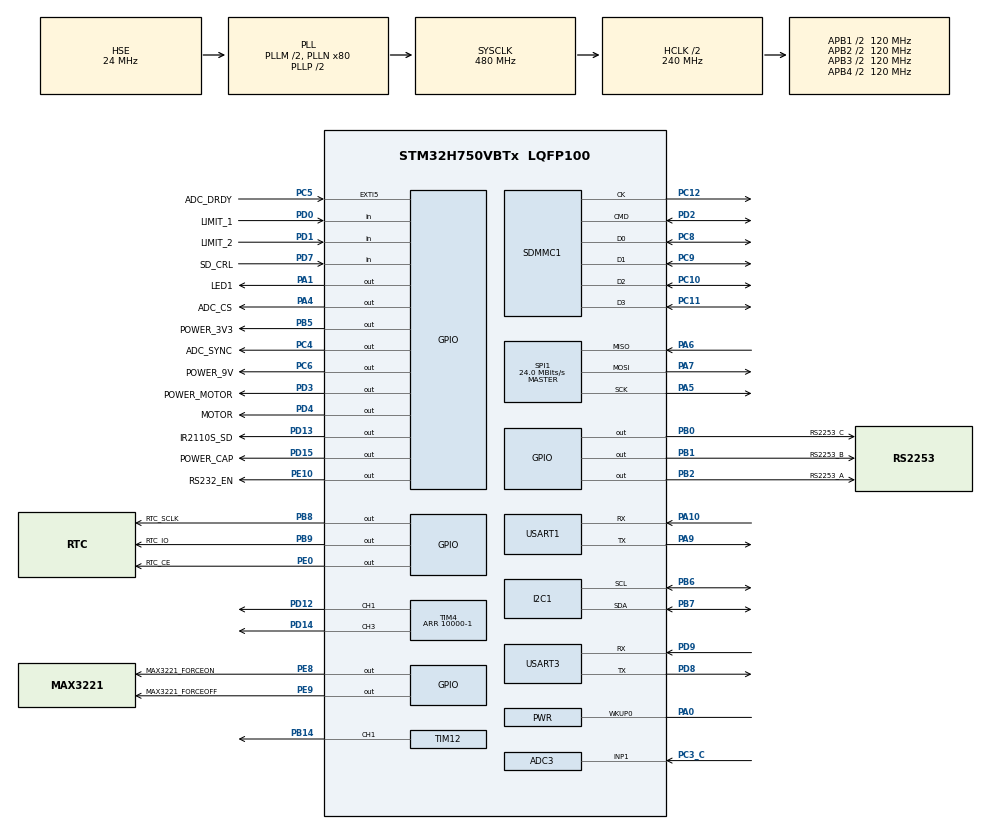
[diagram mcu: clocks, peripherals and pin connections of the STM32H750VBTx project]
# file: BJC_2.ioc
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ADC3.Channel-0\#ChannelRegularConversion=ADC_CHANNEL_1
ADC3.NbrOfConversionFlag=1
ADC3.OffsetNumber-0\#ChannelRegularConversion=ADC_OFFSET_NONE
ADC3.OffsetSignedSaturation-0\#ChannelRegularConversion=DISABLE
ADC3.Rank-0\#ChannelRegularConversion=1
ADC3.SamplingTime-0\#ChannelRegularConversion=ADC_SAMPLETIME_1CYCLE_5
CORTEX_M7.AccessPermission-Cortex_Memory_Protection_Unit_Region0_Settings=MPU_REGION_FULL_ACCESS
CORTEX_M7.BaseAddress-Cortex_Memory_Protection_Unit_Region0_Settings=0x24000000
CORTEX_M7.CPU_DCache=Enabled
CORTEX_M7.CPU_ICache=Enabled
CORTEX_M7.Enable-Cortex_Memory_Protection_Unit_Region0_Settings=MPU_REGION_ENABLE
CORTEX_M7.Enable-Cortex_Memory_Protection_Unit_Region1_Settings=__NULL
CORTEX_M7.Enable-Cortex_Memory_Protection_Unit_Region2_Settings=__NULL
CORTEX_M7.IsBufferable-Cortex_Memory_Protection_Unit_Region0_Settings=MPU_ACCESS_BUFFERABLE
CORTEX_M7.IsCacheable-Cortex_Memory_Protection_Unit_Region0_Settings=MPU_ACCESS_CACHEABLE
CORTEX_M7.MPU_Control=MPU_PRIVILEGED_DEFAULT
CORTEX_M7.Size-Cortex_Memory_Protection_Unit_Region0_Settings=MPU_REGION_SIZE_512KB
CORTEX_M7.TypeExtField-Cortex_Memory_Protection_Unit_Region0_Settings=MPU_TEX_LEVEL1
Dma.Request0=SPI1_RX
Dma.SPI1_RX.0.Direction=DMA_PERIPH_TO_MEMORY
Dma.SPI1_RX.0.EventEnable=DISABLE
Dma.SPI1_RX.0.FIFOMode=DMA_FIFOMODE_DISABLE
Dma.SPI1_RX.0.Instance=DMA1_Stream0
Dma.SPI1_RX.0.MemDataAlignment=DMA_MDATAALIGN_BYTE
Dma.SPI1_RX.0.MemInc=DMA_MINC_ENABLE
Dma.SPI1_RX.0.Mode=DMA_NORMAL
Dma.SPI1_RX.0.PeriphDataAlignment=DMA_PDATAALIGN_BYTE
Dma.SPI1_RX.0.PeriphInc=DMA_PINC_DISABLE
Dma.SPI1_RX.0.Polarity=HAL_DMAMUX_REQ_GEN_RISING
Dma.SPI1_RX.0.Priority=DMA_PRIORITY_LOW
Dma.SPI1_RX.0.RequestNumber=1
Dma.SPI1_RX.0.SignalID=NONE
Dma.SPI1_RX.0.SyncEnable=DISABLE
Dma.SPI1_RX.0.SyncPolarity=HAL_DMAMUX_SYNC_NO_EVENT
Dma.SPI1_RX.0.SyncRequestNumber=1
Dma.SPI1_RX.0.SyncSignalID=NONE
FATFS.BSP.number=1
FATFS.USE_DMA_CODE_SD=1
FATFS._CODE_PAGE=437
FATFS._STRF_ENCODE=0
FATFS._USE_LFN=2
FATFS0.BSP.STBoard=false
FATFS0.BSP.api=Unknown
FATFS0.BSP.instance=PD7
FATFS0.BSP.ip=GPIO
FATFS0.BSP.mode=Input
FATFS0.BSP.name=Detect_SDIO
FATFS0.BSP.solution=PD7
Mcu.Family=STM32H7
Mcu.Name=STM32H750VBTx
Mcu.Package=LQFP100
Mdma.MDMA_Channel0.Request0=SDMMC1_DMA_ENDBUFFER
Mdma.MDMA_Channel0.RequestsNb=1
Mdma.MDMA_Channel0.SDMMC1_DMA_ENDBUFFER.0.BlockCount=0
Mdma.MDMA_Channel0.SDMMC1_DMA_ENDBUFFER.0.BlockDataLength=0
Mdma.MDMA_Channel0.SDMMC1_DMA_ENDBUFFER.0.BufferTransferLength=1
Mdma.MDMA_Channel0.SDMMC1_DMA_ENDBUFFER.0.CircularMode=MDMA_LINEAR_LIST
Mdma.MDMA_Channel0.SDMMC1_DMA_ENDBUFFER.0.DataAlignment=MDMA_DATAALIGN_PACKENABLE
Mdma.MDMA_Channel0.SDMMC1_DMA_ENDBUFFER.0.DestBlockAddressOffset=0
Mdma.MDMA_Channel0.SDMMC1_DMA_ENDBUFFER.0.DestBurst=MDMA_DEST_BURST_SINGLE
Mdma.MDMA_Channel0.SDMMC1_DMA_ENDBUFFER.0.DestDataSize=MDMA_DEST_DATASIZE_BYTE
Mdma.MDMA_Channel0.SDMMC1_DMA_ENDBUFFER.0.DestinationInc=MDMA_DEST_INC_BYTE
Mdma.MDMA_Channel0.SDMMC1_DMA_ENDBUFFER.0.DstAddress=0
Mdma.MDMA_Channel0.SDMMC1_DMA_ENDBUFFER.0.Endianness=MDMA_LITTLE_ENDIANNESS_PRESERVE
Mdma.MDMA_Channel0.SDMMC1_DMA_ENDBUFFER.0.Instance=MDMA_Channel0
Mdma.MDMA_Channel0.SDMMC1_DMA_ENDBUFFER.0.MaskAddress=0
Mdma.MDMA_Channel0.SDMMC1_DMA_ENDBUFFER.0.MaskData=0
Mdma.MDMA_Channel0.SDMMC1_DMA_ENDBUFFER.0.Priority=MDMA_PRIORITY_LOW
Mdma.MDMA_Channel0.SDMMC1_DMA_ENDBUFFER.0.Rank=First
Mdma.MDMA_Channel0.SDMMC1_DMA_ENDBUFFER.0.SourceBlockAddressOffset=0
Mdma.MDMA_Channel0.SDMMC1_DMA_ENDBUFFER.0.SourceBurst=MDMA_SOURCE_BURST_SINGLE
Mdma.MDMA_Channel0.SDMMC1_DMA_ENDBUFFER.0.SourceDataSize=MDMA_SRC_DATASIZE_BYTE
Mdma.MDMA_Channel0.SDMMC1_DMA_ENDBUFFER.0.SourceInc=MDMA_SRC_INC_BYTE
Mdma.MDMA_Channel0.SDMMC1_DMA_ENDBUFFER.0.SrcAddress=0
Mdma.MDMA_Channel0.SDMMC1_DMA_ENDBUFFER.0.TransferTriggerMode=MDMA_BUFFER_TRANSFER
Mdma.RequestSet0=MDMA_Channel0
Mdma.RequestSetsNb=1
NVIC.DMA1_Stream0_IRQn=true\:7\:0\:true\:false\:true\:true\:true
NVIC.EXTI9_5_IRQn=true\:5\:0\:true\:false\:true\:true\:true
NVIC.PriorityGroup=NVIC_PRIORITYGROUP_4
NVIC.SDMMC1_IRQn=true\:1\:0\:true\:false\:true\:true\:true
NVIC.SPI1_IRQn=true\:6\:0\:true\:false\:true\:true\:true
NVIC.TIM2_IRQn=true\:15\:0\:true\:false\:true\:true\:true
NVIC.TIM7_IRQn=true\:14\:0\:true\:false\:true\:true\:true
NVIC.TIM8_UP_TIM13_IRQn=true\:10\:0\:true\:false\:true\:true\:true
PA0.Mode=WakeUp0
PA0.Signal=PWR_WKUP0
PA1.GPIO_Label=LED1
PA1.Signal=GPIO_Output
PA10.Mode=Asynchronous
PA10.Signal=USART1_RX
PA13\ (JTMS/SWDIO).Mode=Serial_Wire
PA13\ (JTMS/SWDIO).Signal=DEBUG_JTMS-SWDIO
PA14\ (JTCK/SWCLK).Mode=Serial_Wire
PA14\ (JTCK/SWCLK).Signal=DEBUG_JTCK-SWCLK
PA4.GPIO_Label=ADC_CS
PA4.Signal=GPIO_Output
PA5.Mode=Full_Duplex_Master
PA5.Signal=SPI1_SCK
PA6.Mode=Full_Duplex_Master
PA6.Signal=SPI1_MISO
PA7.Mode=Full_Duplex_Master
PA7.Signal=SPI1_MOSI
PA9.Mode=Asynchronous
PA9.Signal=USART1_TX
PB0.GPIO_Label=RS2253_C
PB0.Signal=GPIO_Output
PB1.GPIO_Label=RS2253_B
PB1.Signal=GPIO_Output
PB14.Signal=S_TIM12_CH1
PB2.GPIO_Label=RS2253_A
PB2.Signal=GPIO_Output
PB5.GPIO_Label=POWER_3V3
PB5.Signal=GPIO_Output
PB6.Mode=I2C
PB6.Signal=I2C1_SCL
PB7.Mode=I2C
PB7.Signal=I2C1_SDA
PB8.GPIO_Label=RTC_SCLK
PB8.Signal=GPIO_Output
PB9.GPIO_Label=RTC_IO
PB9.Signal=GPIO_Output
PC10.Mode=SD_4_bits_Wide_bus
PC10.Signal=SDMMC1_D2
PC11.Mode=SD_4_bits_Wide_bus
PC11.Signal=SDMMC1_D3
PC12.Mode=SD_4_bits_Wide_bus
PC12.Signal=SDMMC1_CK
PC3_C.Mode=IN1-Single-Ended
PC3_C.Signal=ADC3_INP1
PC4.GPIO_Label=ADC_SYNC
PC4.Signal=GPIO_Output
PC5.GPIO_Label=ADC_DRDY
PC5.GPIO_ModeDefaultEXTI=GPIO_MODE_IT_FALLING
PC5.Signal=GPXTI5
PC6.GPIO_Label=POWER_9V
PC6.Signal=GPIO_Output
PC8.Mode=SD_4_bits_Wide_bus
PC8.Signal=SDMMC1_D0
PC9.Mode=SD_4_bits_Wide_bus
PC9.Signal=SDMMC1_D1
PD0.GPIO_Label=LIMIT_1
PD0.GPIO_PuPd=GPIO_NOPULL
PD0.Signal=GPIO_Input
PD1.GPIO_Label=LIMIT_2
PD1.Signal=GPIO_Input
PD12.Signal=S_TIM4_CH1
PD13.GPIO_Label=IR2110S_SD
PD13.Signal=GPIO_Output
PD14.Signal=S_TIM4_CH3
PD15.GPIO_Label=POWER_CAP
PD15.Signal=GPIO_Output
PD2.Mode=SD_4_bits_Wide_bus
PD2.Signal=SDMMC1_CMD
PD3.GPIO_Label=POWER_MOTOR
PD3.Signal=GPIO_Output
PD4.GPIO_Label=MOTOR
PD4.Signal=GPIO_Output
PD7.GPIO_Label=SD_CRL
PD7.GPIO_PuPd=GPIO_PULLDOWN
PD7.Signal=GPIO_Input
PD8.Mode=Asynchronous
PD8.Signal=USART3_TX
PD9.Mode=Asynchronous
PD9.Signal=USART3_RX
PE0.GPIO_Label=RTC_CE
PE0.Signal=GPIO_Output
PE10.GPIO_Label=RS232_EN
PE10.Signal=GPIO_Output
PE8.GPIO_Label=MAX3221_FORCEON
PE8.Signal=GPIO_Output
PE9.GPIO_Label=MAX3221_FORCEOFF
PE9.Signal=GPIO_Output
PH0-OSC_IN\ (PH0).Mode=HSE-External-Oscillator
PH0-OSC_IN\ (PH0).Signal=RCC_OSC_IN
PH1-OSC_OUT\ (PH1).Mode=HSE-External-Oscillator
PH1-OSC_OUT\ (PH1).Signal=RCC_OSC_OUT
ProjectManager.HeapSize=0x4000
ProjectManager.StackSize=0x2000
ProjectManager.TargetToolchain=MDK-ARM V5.27
RCC.ADCFreq_Value=60000000
RCC.APB1Freq_Value=120000000
RCC.APB2Freq_Value=120000000
RCC.APB3Freq_Value=120000000
RCC.APB4Freq_Value=120000000
RCC.CortexFreq_Value=480000000
RCC.D1PPRE=RCC_APB3_DIV2
RCC.D2PPRE1=RCC_APB1_DIV2
RCC.D2PPRE2=RCC_APB2_DIV2
RCC.D3PPRE=RCC_APB4_DIV2
RCC.DIVM1=2
RCC.DIVM2=4
RCC.DIVM3=15
RCC.DIVN1=80
RCC.DIVN2=50
RCC.DIVN3=120
RCC.DIVP2=5
RCC.DIVQ1=20
RCC.DIVR2=6
RCC.DIVR3=3
RCC.HCLKFreq_Value=240000000
RCC.HPRE=RCC_HCLK_DIV2
RCC.HSE_VALUE=24000000
RCC.I2C123CLockSelection=RCC_I2C123CLKSOURCE_PLL3
RCC.PLLSourceVirtual=RCC_PLLSOURCE_HSE
RCC.SDMMC1CLockSelection=RCC_SDMMCCLKSOURCE_PLL2
RCC.SYSCLKFreq_VALUE=480000000
RCC.SYSCLKSource=RCC_SYSCLKSOURCE_PLLCLK
RCC.USBFreq_Value=48000000
SDMMC1.ClockDiv=1
SH.S_TIM12_CH1.0=TIM12_CH1,PWM Generation1 CH1
SH.S_TIM4_CH1.0=TIM4_CH1,Output Compare1 CH1
SH.S_TIM4_CH3.0=TIM4_CH3,Output Compare3 CH3
SPI1.BaudRatePrescaler=SPI_BAUDRATEPRESCALER_2
SPI1.CalculateBaudRate=24.0 MBits/s
SPI1.DataSize=SPI_DATASIZE_8BIT
SPI1.Direction=SPI_DIRECTION_2LINES
SPI1.Mode=SPI_MODE_MASTER
SPI1.VirtualType=VM_MASTER
TIM12.Channel-PWM\ Generation1\ CH1=TIM_CHANNEL_1
TIM12.Period=240-1
TIM12.Pulse-PWM\ Generation1\ CH1=120-1
TIM13.Period=333-1
TIM13.Prescaler=24-1
TIM2.Period=20000-1
TIM2.Prescaler=30000-1
TIM4.Channel-Output\ Compare1\ CH1=TIM_CHANNEL_1
TIM4.Channel-Output\ Compare3\ CH3=TIM_CHANNEL_3
TIM4.CounterMode=TIM_COUNTERMODE_CENTERALIGNED1
TIM4.OCMode_1=TIM_OCMODE_RETRIGERRABLE_OPM1
TIM4.OCMode_3=TIM_OCMODE_RETRIGERRABLE_OPM2
TIM4.OCPolarity_3=TIM_OCPOLARITY_HIGH
TIM4.Period=10000-1
TIM4.Pulse-Output\ Compare1\ CH1=3500-1
TIM4.Pulse-Output\ Compare3\ CH3=6500-1
TIM6.Period=65536-1
TIM6.Prescaler=240-1
TIM7.Period=10000-1
TIM7.Prescaler=24000-1
USART1.VirtualMode-Asynchronous=VM_ASYNC
USART3.VirtualMode-Asynchronous=VM_ASYNC
VP_FATFS_VS_SDIO.Mode=SDIO
VP_TIM13_VS_ClockSourceINT.Mode=Enable_Timer
VP_TIM2_VS_ClockSourceINT.Mode=Internal
VP_TIM6_VS_ClockSourceINT.Mode=Enable_Timer
VP_TIM7_VS_ClockSourceINT.Mode=Enable_Timer
board=custom

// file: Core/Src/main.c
/* USER CODE BEGIN Header */
/**
  ******************************************************************************
  * @file           : main.c
  * @brief          : Main program body
  ******************************************************************************
  * @attention
  *
  * Copyright (c) 2023 STMicroelectronics.
  * All rights reserved.
  *
  * This software is licensed under terms that can be found in the LICENSE file
  * in the root directory of this software component.
  * If no LICENSE file comes with this software, it is provided AS-IS.
  *
  ******************************************************************************
  */
/* USER CODE END Header */
#include "main.h"
#include "adc.h"
#include "dma.h"
#include "fatfs.h"
#include "i2c.h"
#include "mdma.h"
#include "sdmmc.h"
#include "spi.h"
#include "tim.h"
#include "usart.h"
#include "gpio.h"

/* USER CODE BEGIN Includes */
#include "APP_Work.h"
/* USER CODE END Includes */

void SystemClock_Config(void);
void PeriphCommonClock_Config(void);
static void MPU_Config(void);

/* USER CODE BEGIN 0 */
uint8_t failure_cnt = 0;

/* USER CODE END 0 */

int main(void)
{

  /* MPU Configuration--------------------------------------------------------*/
  MPU_Config();

  /* Enable I-Cache---------------------------------------------------------*/
  SCB_EnableICache();

  /* Enable D-Cache---------------------------------------------------------*/
  SCB_EnableDCache();

  /* MCU Configuration--------------------------------------------------------*/

  /* Reset of all peripherals, Initializes the Flash interface and the Systick. */
  HAL_Init();

  /* Configure the system clock */
  SystemClock_Config();

/* Configure the peripherals common clocks */
  PeriphCommonClock_Config();

  /* USER CODE BEGIN SysInit */

	MX_GPIO_Init();
	HAL_NVIC_DisableIRQ(EXTI9_5_IRQn);  // ADC数据关闭，在adc7767_init中开启
	MX_USART1_UART_Init();

	if( 1 == READ_BIT(PWR -> WKUPFR, PWR_WKUPFR_WKUPF1))  // 读取唤醒标志寄存器，判断是否为唤醒状态   //  PWR_WKUPFR
			System_State = Wake_Up;

	printf(" System_State = %s \r\n", SystemTable[System_State]);

	/*  判断唤醒信号有效性 （没有开启中断，需要和甲板联合测试）*/
	if(System_State == Wake_Up)
	{
		MX_TIM7_Init();
		__HAL_TIM_ENABLE(&htim7);    // 开启计数
		printf(" 开始计时1S \r\n");

		while(1)
		{
				if(TIM7->CNT == 10000 - 1)     // 计数值满，倒计时1S到达
				{
						__HAL_TIM_DISABLE(&htim7);
						TIM7->CNT = 0;

						printf(" 计时1S结束，开始判断信号 \r\n");

						if( Wakeup_signal_cnt/2 <= Wakeup_signal_Low_cnt ){   // 超过一半的时间为0

								printf(" 信号有效 \r\n");
								printf(" Wakeup_signal_cnt =  %d\r\n Wakeup_signal_Low_cnt = %d \r\n",Wakeup_signal_cnt,Wakeup_signal_Low_cnt);
								System_State = Wake_Work;
								printf(" 唤醒成功 \r\n");
								break;   // 跳出循环

							} else{
												printf(" 信号无效，重新开始计数 \r\n");
												TIM7->CNT = 0;
												__HAL_TIM_ENABLE(&htim7);
												failure_cnt++;
												if(failure_cnt++ > 6)   // 失败5次
												{
													  failure_cnt = 0;
														printf(" 唤醒失败多次，继续休眠 \r\n");
														Enter_Standby_Mode();
												}
										}

						Wakeup_signal_cnt = 0;
						Wakeup_signal_Low_cnt = 0;

				}	else { 													 // 如果未到1S
									Wakeup_signal_cnt++;
									if( (( GPIOA -> IDR ) & 0x00000001) == 0x00000000)  // 判断PA0是否为0
									Wakeup_signal_Low_cnt++;
								}
		} // while(1)
	}

	printf(" 其余外设开启 \r\n");
	printf(" System_State = %s \r\n", SystemTable[System_State]);

  Power_ON();      // 打开板子的所有电源控制
  HAL_Delay(100);  // 为稳定开启

  MX_DMA_Init();  // SPI
  MX_MDMA_Init();
  MX_SDMMC1_SD_Init();
  MX_TIM6_Init();  // us级延时时钟
  MX_ADC3_Init();	// 电池电压
  MX_I2C1_Init(); // MPU6050
  MX_SPI1_Init();	// ADC时序
  MX_USART3_UART_Init();  //RS232
  MX_FATFS_Init();
  MX_TIM12_Init(); // ADC时钟 1M
  MX_TIM2_Init();   // 5分钟定时，中断14
//	MOTOR_REVERSE;   // 电机正反转选择，必须在时钟前
//	//MOTOR_FORWARD;
	MX_TIM13_Init(); // 电机，中断10   放在后面的 Motor_rotate 中
	MX_TIM7_Init();  // 1S定时器，中断15

	__HAL_TIM_CLEAR_IT (&htim7 ,TIM_IT_UPDATE );        // 清除T7标志
	__HAL_TIM_SET_COUNTER(&htim7, 0);   								// 清零T7计数
	HAL_TIM_Base_Start_IT (&htim7 );                    // 允许T7中断

  MX_TIM4_Init();  // 发射

		/* 开启5分钟定时，如果没有收到指令，则进入休眠 */
		Minute_5_start = 1;
		__HAL_TIM_CLEAR_IT (&htim2 ,TIM_IT_UPDATE );        // 清除T2标志
		HAL_TIM_Base_Start_IT (&htim2 );                    // 允许T2中断

  /* USER CODE END SysInit */

  /* Initialize all configured peripherals */

  /* USER CODE BEGIN 2 */

  printf("\r\n 初始化完成\r\n");
	printf("****进入用户程序****\r\n\r\n");
  APP_Init();

  /* USER CODE END 2 */

  /* Infinite loop */
  while (1)
  {

    /* USER CODE BEGIN 3 */
		APP_Process();
  }
  /* USER CODE END 3 */
}

void SystemClock_Config(void)
{
  RCC_OscInitTypeDef RCC_OscInitStruct = {0};
  RCC_ClkInitTypeDef RCC_ClkInitStruct = {0};

  /** Supply configuration update enable
  */
  HAL_PWREx_ConfigSupply(PWR_LDO_SUPPLY);
  /** Configure the main internal regulator output voltage
  */
  __HAL_PWR_VOLTAGESCALING_CONFIG(PWR_REGULATOR_VOLTAGE_SCALE0);

  while(!__HAL_PWR_GET_FLAG(PWR_FLAG_VOSRDY)) {}
  /** Macro to configure the PLL clock source
  */
  __HAL_RCC_PLL_PLLSOURCE_CONFIG(RCC_PLLSOURCE_HSE);
  /** Initializes the RCC Oscillators according to the specified parameters
  * in the RCC_OscInitTypeDef structure.
  */
  RCC_OscInitStruct.OscillatorType = RCC_OSCILLATORTYPE_HSE;
  RCC_OscInitStruct.HSEState = RCC_HSE_ON;
  RCC_OscInitStruct.PLL.PLLState = RCC_PLL_ON;
  RCC_OscInitStruct.PLL.PLLSource = RCC_PLLSOURCE_HSE;
  RCC_OscInitStruct.PLL.PLLM = 2;
  RCC_OscInitStruct.PLL.PLLN = 80;
  RCC_OscInitStruct.PLL.PLLP = 2;
  RCC_OscInitStruct.PLL.PLLQ = 20;
  RCC_OscInitStruct.PLL.PLLR = 2;
  RCC_OscInitStruct.PLL.PLLRGE = RCC_PLL1VCIRANGE_3;
  RCC_OscInitStruct.PLL.PLLVCOSEL = RCC_PLL1VCOWIDE;
  RCC_OscInitStruct.PLL.PLLFRACN = 0;
  if (HAL_RCC_OscConfig(&RCC_OscInitStruct) != HAL_OK)
  {
    Error_Handler();
  }
  /** Initializes the CPU, AHB and APB buses clocks
  */
  RCC_ClkInitStruct.ClockType = RCC_CLOCKTYPE_HCLK|RCC_CLOCKTYPE_SYSCLK
                              |RCC_CLOCKTYPE_PCLK1|RCC_CLOCKTYPE_PCLK2
                              |RCC_CLOCKTYPE_D3PCLK1|RCC_CLOCKTYPE_D1PCLK1;
  RCC_ClkInitStruct.SYSCLKSource = RCC_SYSCLKSOURCE_PLLCLK;
  RCC_ClkInitStruct.SYSCLKDivider = RCC_SYSCLK_DIV1;
  RCC_ClkInitStruct.AHBCLKDivider = RCC_HCLK_DIV2;
  RCC_ClkInitStruct.APB3CLKDivider = RCC_APB3_DIV2;
  RCC_ClkInitStruct.APB1CLKDivider = RCC_APB1_DIV2;
  RCC_ClkInitStruct.APB2CLKDivider = RCC_APB2_DIV2;
  RCC_ClkInitStruct.APB4CLKDivider = RCC_APB4_DIV2;

  if (HAL_RCC_ClockConfig(&RCC_ClkInitStruct, FLASH_LATENCY_4) != HAL_OK)
  {
    Error_Handler();
  }
}

void PeriphCommonClock_Config(void)
{
  RCC_PeriphCLKInitTypeDef PeriphClkInitStruct = {0};

  /** Initializes the peripherals clock
  */
  PeriphClkInitStruct.PeriphClockSelection = RCC_PERIPHCLK_ADC|RCC_PERIPHCLK_SDMMC;
  PeriphClkInitStruct.PLL2.PLL2M = 4;
  PeriphClkInitStruct.PLL2.PLL2N = 50;
  PeriphClkInitStruct.PLL2.PLL2P = 5;
  PeriphClkInitStruct.PLL2.PLL2Q = 2;
  PeriphClkInitStruct.PLL2.PLL2R = 6;
  PeriphClkInitStruct.PLL2.PLL2RGE = RCC_PLL2VCIRANGE_2;
  PeriphClkInitStruct.PLL2.PLL2VCOSEL = RCC_PLL2VCOWIDE;
  PeriphClkInitStruct.PLL2.PLL2FRACN = 0;
  PeriphClkInitStruct.SdmmcClockSelection = RCC_SDMMCCLKSOURCE_PLL2;
  PeriphClkInitStruct.AdcClockSelection = RCC_ADCCLKSOURCE_PLL2;
  if (HAL_RCCEx_PeriphCLKConfig(&PeriphClkInitStruct) != HAL_OK)
  {
    Error_Handler();
  }
}

/* MPU Configuration */

void MPU_Config(void)
{
  MPU_Region_InitTypeDef MPU_InitStruct = {0};

  /* Disables the MPU */
  HAL_MPU_Disable();
  /** Initializes and configures the Region and the memory to be protected
  */
  MPU_InitStruct.Enable = MPU_REGION_ENABLE;
  MPU_InitStruct.Number = MPU_REGION_NUMBER0;
  MPU_InitStruct.BaseAddress = 0x24000000;
  MPU_InitStruct.Size = MPU_REGION_SIZE_512KB;
  MPU_InitStruct.SubRegionDisable = 0x0;
  MPU_InitStruct.TypeExtField = MPU_TEX_LEVEL1;
  MPU_InitStruct.AccessPermission = MPU_REGION_FULL_ACCESS;
  MPU_InitStruct.DisableExec = MPU_INSTRUCTION_ACCESS_ENABLE;
  MPU_InitStruct.IsShareable = MPU_ACCESS_NOT_SHAREABLE;
  MPU_InitStruct.IsCacheable = MPU_ACCESS_CACHEABLE;
  MPU_InitStruct.IsBufferable = MPU_ACCESS_BUFFERABLE;

  HAL_MPU_ConfigRegion(&MPU_InitStruct);
  /* Enables the MPU */
  HAL_MPU_Enable(MPU_PRIVILEGED_DEFAULT);

}

void Error_Handler(void)
{
  __disable_irq();
  while (1)
  {
  }
}
